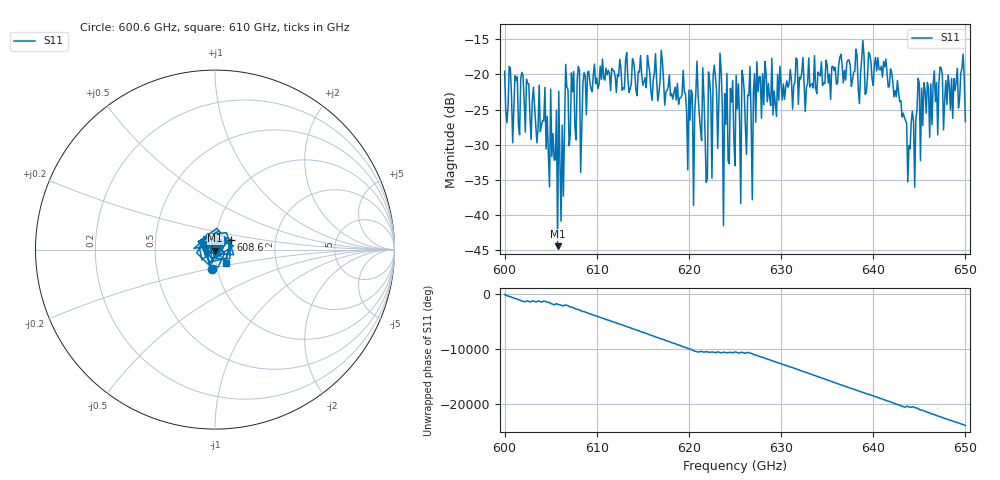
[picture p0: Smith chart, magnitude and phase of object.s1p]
!Created with skrf (http://scikit-rf.org).
# GHz S MA R 50.0
!freq magS11 angS11
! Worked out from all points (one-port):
!   401 points, 600 GHz to 650 GHz, reference 50 ohm
!   lowest |S11| = -44.5 dB at 605.8 GHz (marker M1), VSWR 1.01, Z = 50.1 - j0.582 ohm
!   |S11| at or under -10 dB: start of sweep to end of sweep
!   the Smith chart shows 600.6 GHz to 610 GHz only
!   S11 on the Smith chart (normalised r, x): 600.6 GHz: 0.94, -0.21; 608.6 GHz: 1.18, +0.13; 610 GHz: 1.11, -0.17
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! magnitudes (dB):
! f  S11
! 600 GHz  -19.5
! 600.6 GHz  -19.1
! 602.1 GHz  -23.8
! 605.8 GHz  -44.5
! 606.2 GHz  -27.2
! 606.8 GHz  -21.8
! 608.6 GHz  -19.7
! 610 GHz  -20.5
! 612.5 GHz  -17.8
! 618.8 GHz  -21.3
! 619.4 GHz  -19.4
! 620.4 GHz  -22.8
! 620.9 GHz  -18.1
! 621.9 GHz  -35.4
! 622.9 GHz  -20.3
! 624 GHz  -27.1
! 625 GHz  -33.0
! 627 GHz  -22.3
! 627.4 GHz  -18.2
! 631.2 GHz  -24.9
! 637.5 GHz  -18.7
! 641.2 GHz  -18.9
! 642.8 GHz  -22.6
! 643.8 GHz  -35.3
! 645.8 GHz  -25.5
! 648.6 GHz  -26.3
! 649.6 GHz  -19.1
! 650 GHz  -26.7
